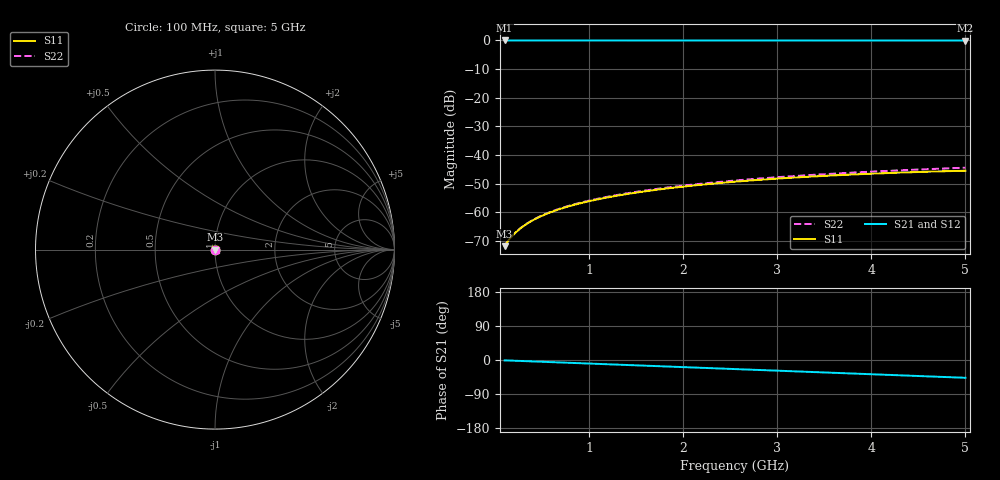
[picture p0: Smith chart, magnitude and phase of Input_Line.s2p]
! Sonnet Data File
! From: sonnet Version : 18.53-Lite
! From Emgraph Data:
! Data File Written: 04/08/2024 17:20:33
!< HDATE 04/08/2024 17:19:59
!< MDATE 04/08/2024 17:19:59
# GHZ S MA R 50.00000
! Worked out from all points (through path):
!   246 points, 100 MHz to 5 GHz, reference 50 ohm
!   highest |S21| = 0.00 dB at 100 MHz (marker M1); lowest = 0.0 dB at 5 GHz (marker M2)
!   group delay of S21, straight-line fit = 26.1 ps
!   lowest |S11| = -71.8 dB at 100 MHz (marker M3), VSWR 1.00, Z = 50 + j0.0238 ohm
!   |S11| at or under -10 dB: start of sweep to end of sweep
!   |S22| runs from -71.7 to -44.4 dB; largest |S21 - S12| = 1e-13
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0.1  0.0002585 66.9  0.9999 -0.9  0.9999 -0.9  0.0002595 66.3
0.12  0.0002911 68.4  0.9999 -1.1  0.9999 -1.1  0.0002924 67.6
0.16  0.0003559 70.5  0.9998 -1.5  0.9998 -1.5  0.000358 69.3
0.22  0.000452 72.4  0.9998 -2.1  0.9998 -2.1  0.0004555 70.7
0.26  0.0005152 73.2  0.9998 -2.4  0.9998 -2.4  0.0005198 71.1
0.3  0.0005776 73.9  0.9998 -2.8  0.9998 -2.8  0.0005834 71.4
0.38  0.0007003 74.7  0.9997 -3.6  0.9997 -3.6  0.0007088 71.5
0.44  0.0007905 75.2  0.9997 -4.1  0.9997 -4.1  0.0008013 71.4
0.5  0.0008792 75.5  0.9997 -4.7  0.9997 -4.7  0.0008926 71.1
0.62  0.001053 76.0  0.9996 -5.8  0.9996 -5.8  0.001072 70.3
0.76  0.001249 76.4  0.9996 -7.1  0.9996 -7.1  0.001276 69.2
0.92  0.001468 76.6  0.9995 -8.6  0.9995 -8.6  0.001503 67.7
1.1  0.001707 76.7  0.9994 -10.3  0.9994 -10.3  0.001754 65.8
1.28  0.001941 76.8  0.9993 -12.0  0.9993 -12.0  0.001999 63.7
1.5  0.002221 76.6  0.9993 -14.1  0.9993 -14.1  0.002293 61.0
1.74  0.002518 76.3  0.9992 -16.3  0.9992 -16.3  0.002607 57.9
2.12  0.002968 75.7  0.999 -19.9  0.999 -19.9  0.003088 52.5
2.56  0.003453 74.6  0.9988 -24.0  0.9988 -24.0  0.00362 45.9
2.96  0.003858 73.6  0.9986 -27.8  0.9986 -27.8  0.004078 39.7
3.38  0.004245 72.6  0.9984 -31.7  0.9984 -31.7  0.004532 32.9
4.2  0.004889 71.0  0.998 -39.4  0.998 -39.4  0.005342 19.1
5  0.005354 69.9  0.9976 -47.0  0.9976 -47.0  0.006037 4.8
